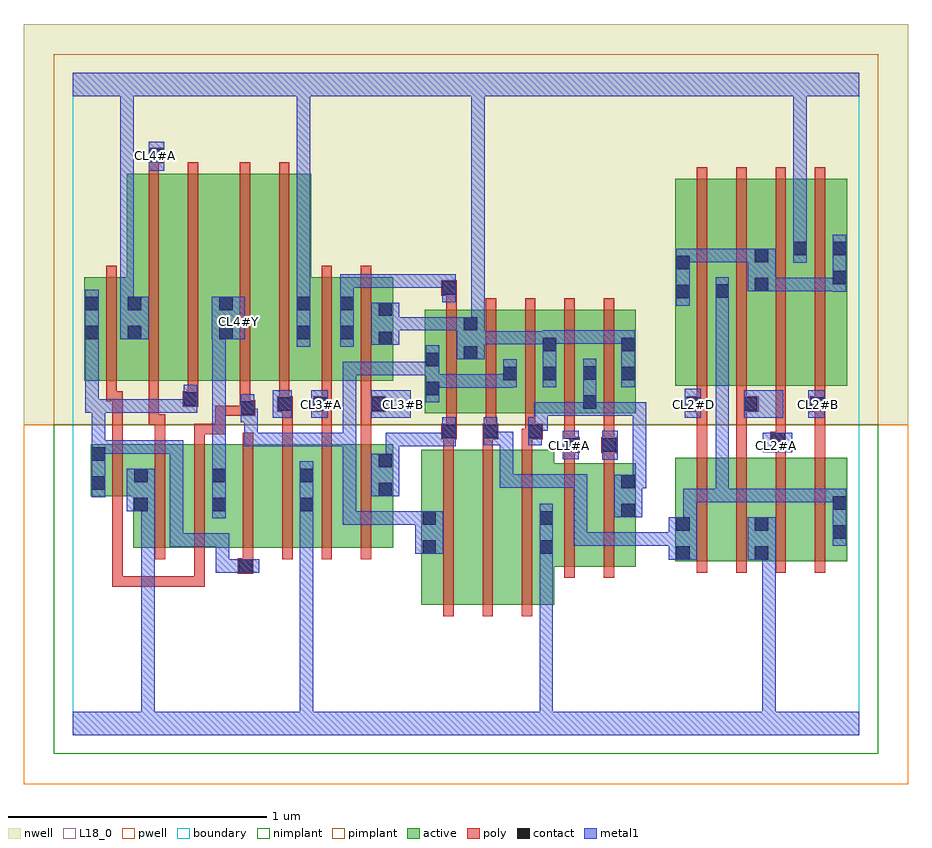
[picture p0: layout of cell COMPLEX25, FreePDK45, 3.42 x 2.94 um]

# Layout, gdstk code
import gdstk
lib = gdstk.Library(unit=1e-6, precision=1e-09)
def R(c, l, rs):  # rectangles x0, y0, x1, y1
    for r in rs: c.add(gdstk.rectangle(r[:2], r[2:], *l))
def A(c, l, x, y, w, h, nx, ny, dx, dy):  # array of equal rectangles
    R(c, l, [(x+i*dx, y+j*dy, x+i*dx+w, y+j*dy+h) for i in range(nx) for j in range(ny)])
active = (1, 0)
pwell = (2, 0)
nwell = (3, 0)
nimplant = (4, 0)
pimplant = (5, 0)
poly = (9, 0)
contact = (10, 0)
metal1 = (11, 0)
L18_0 = (18, 0)
boundary = (235, 0)

complex25 = lib.new_cell('COMPLEX25')
A(complex25, active, 1.508, 1.244, 0.06, 0.4, 3, 1, 0.152, 0)
R(complex25, active, [(1.348,0.504,1.528,1.104), (1.528,0.504,1.68,1.104), (1.68,0.504,1.86,1.104), (1.348,0.556,1.408,1.104), (1.8,0.652,1.996,1.052), (1.996,0.652,2.176,1.052), (2.328,0.672,2.508,1.072), (2.328,0.672,2.388,1.072), (2.508,0.672,2.692,1.072), (2.632,0.672,2.812,1.072), (2.812,0.672,2.992,1.072), (2.632,0.674,2.692,0.846), (1.8,0.698,1.86,0.87), (0.234,0.724,0.414,1.124), (0.234,0.724,0.294,1.034), (0.414,0.724,0.596,1.124), (0.536,0.724,0.754,1.124), (0.754,0.724,0.934,1.124), (0.874,0.724,1.058,1.124), (1.058,0.724,1.238,1.124), (0.536,0.756,0.596,1.034), (0.874,0.756,0.934,1.034), (1.178,0.756,1.238,1.124), (2.116,0.756,2.176,1.052), (2.932,0.756,2.992,1.072), (0.07,0.924,0.294,1.124), (0.07,0.944,0.13,1.124), (1.36,1.244,1.42,1.644), (1.36,1.244,1.568,1.644), (1.508,1.244,1.72,1.644), (1.66,1.244,1.872,1.644), (1.812,1.244,2.028,1.644), (1.968,1.244,2.028,1.644), (1.968,1.244,2.176,1.644), (2.116,1.244,2.176,1.644), (2.328,1.35,2.54,2.15), (2.328,1.35,2.388,2.044), (2.48,1.35,2.692,2.15), (2.632,1.35,2.84,2.15), (2.78,1.35,2.992,2.15), (2.932,1.35,2.992,2.15), (0.046,1.37,0.106,1.698), (0.046,1.37,0.27,1.77), (0.21,1.37,0.39,2.17), (0.21,1.37,0.27,1.698), (0.39,1.37,0.622,2.17), (0.562,1.37,0.742,2.17), (0.742,1.37,0.922,2.17), (0.862,1.37,1.09,1.77), (1.03,1.37,1.09,1.77), (1.03,1.37,1.238,1.77), (1.178,1.37,1.238,1.676), (0.562,1.526,0.622,2.044), (0.862,1.526,0.922,1.698), (2.48,1.686,2.54,2.044), (2.632,1.686,2.692,2.15), (2.78,1.686,2.84,2.044)])
R(complex25, pwell, [(-0.188,-0.188,3.228,1.2)])
R(complex25, nwell, [(-0.188,1.2,3.228,2.748)])
R(complex25, nimplant, [(-0.072,-0.072,3.112,1.2)])
R(complex25, pimplant, [(-0.072,1.2,3.112,2.632)])
A(complex25, poly, 1.432, 0.46, 0.04, 0.688, 3, 1, 0.152, 0)
A(complex25, poly, 2.412, 0.628, 0.04, 0.488, 4, 1, 0.152, 0)
A(complex25, poly, 0.658, 0.68, 0.04, 0.488, 4, 1, 0.152, 0)
A(complex25, poly, 1.432, 1.108, 0.04, 0.076, 3, 1, 0.152, 0)
A(complex25, poly, 0.81, 1.128, 0.04, 0.162, 3, 1, 0.152, 0)
A(complex25, poly, 1.444, 1.164, 0.04, 0.076, 3, 1, 0.152, 0)
A(complex25, poly, 1.444, 1.2, 0.04, 0.488, 5, 1, 0.152, 0)
A(complex25, poly, 2.412, 1.306, 0.04, 0.888, 4, 1, 0.152, 0)
R(complex25, poly, [(0.154,0.574,0.194,0.614), (0.154,0.574,0.194,0.614), (0.154,0.574,0.194,0.614), (0.154,0.574,0.194,0.614), (0.154,0.574,0.194,0.614), (0.154,0.574,0.194,0.614), (0.154,0.574,0.194,0.614), (0.154,0.574,0.3,0.614), (0.154,0.574,0.194,0.92), (0.26,0.574,0.3,0.614), (0.26,0.574,0.486,0.614), (0.446,0.574,0.486,0.614), (0.446,0.574,0.51,0.614), (0.47,0.574,0.51,0.614), (0.47,0.574,0.51,0.72), (1.9,0.608,1.94,1.096), (2.052,0.608,2.092,1.096), (0.638,0.624,0.698,0.684), (0.658,0.644,0.698,0.72), (0.318,0.68,0.358,1.168), (0.47,0.68,0.51,1.168), (0.154,0.88,0.194,1.168), (1.9,1.056,1.94,1.132), (2.052,1.056,2.092,1.132), (2.412,1.076,2.452,1.29), (2.564,1.076,2.604,1.29), (2.716,1.076,2.756,1.152), (2.868,1.076,2.908,1.29), (1.9,1.092,1.94,1.132), (1.9,1.092,1.94,1.132), (1.9,1.092,1.96,1.152), (2.042,1.092,2.102,1.152), (2.052,1.092,2.092,1.132), (2.052,1.092,2.092,1.132), (1.9,1.112,1.94,1.24), (2.052,1.112,2.092,1.24), (2.696,1.112,2.756,1.172), (0.154,1.128,0.194,1.33), (0.318,1.128,0.358,1.24), (0.47,1.128,0.51,1.204), (2.716,1.132,2.756,1.172), (2.716,1.132,2.756,1.172), (2.716,1.132,2.756,1.346), (1.424,1.144,1.484,1.204), (1.584,1.144,1.644,1.204), (1.736,1.144,1.788,1.184), (1.748,1.144,1.788,1.184), (1.748,1.144,1.816,1.204), (0.47,1.164,0.51,1.204), (0.47,1.164,0.592,1.204), (0.552,1.164,0.592,1.274), (1.444,1.164,1.484,1.204), (1.444,1.164,1.484,1.204), (1.596,1.164,1.636,1.204), (1.596,1.164,1.636,1.204), (0.294,1.2,0.358,1.24), (0.294,1.2,0.334,1.366), (0.318,1.2,0.358,1.24), (0.318,1.2,0.358,1.24), (0.552,1.234,0.686,1.274), (0.646,1.234,0.706,1.294), (0.79,1.25,0.85,1.31), (0.93,1.25,1.002,1.31), (1.114,1.25,1.154,1.29), (1.114,1.25,1.154,1.29), (1.114,1.25,1.21,1.31), (2.37,1.25,2.452,1.31), (2.412,1.25,2.452,1.29), (2.412,1.25,2.452,1.29), (2.564,1.25,2.604,1.29), (2.564,1.25,2.604,1.29), (2.564,1.25,2.65,1.31), (2.848,1.25,2.908,1.31), (0.646,1.254,0.686,1.294), (0.646,1.254,0.686,1.294), (0.646,1.254,0.686,1.366), (0.426,1.27,0.486,1.33), (0.798,1.27,0.838,1.31), (0.798,1.27,0.838,1.31), (0.798,1.27,0.838,1.366), (0.962,1.27,1.002,1.31), (0.962,1.27,1.002,1.31), (0.962,1.27,1.002,1.366), (1.114,1.27,1.154,1.366), (2.412,1.27,2.452,1.346), (2.564,1.27,2.604,1.346), (2.868,1.27,2.908,1.346), (2.868,1.27,2.908,1.31), (2.868,1.27,2.908,1.31), (0.13,1.29,0.17,1.366), (0.13,1.29,0.17,1.33), (0.13,1.29,0.17,1.33), (0.13,1.29,0.194,1.33), (0.446,1.29,0.486,1.366), (0.13,1.326,0.17,1.814), (0.294,1.326,0.334,2.214), (0.446,1.326,0.486,2.214), (0.646,1.326,0.686,2.214), (0.798,1.326,0.838,2.214), (0.962,1.326,1.002,1.814), (1.114,1.326,1.154,1.814), (1.444,1.648,1.484,1.738), (1.424,1.698,1.484,1.758), (0.294,2.174,0.334,2.25), (0.294,2.21,0.354,2.27)])
R(complex25, contact, [(0.642,0.628,0.694,0.68), (2.332,0.678,2.384,0.73), (2.636,0.678,2.688,0.73), (1.352,0.702,1.404,0.754), (1.804,0.702,1.856,0.754), (2.936,0.76,2.988,0.812), (2.332,0.79,2.384,0.842), (2.636,0.79,2.688,0.842), (1.352,0.814,1.404,0.866), (1.804,0.814,1.856,0.866), (2.12,0.842,2.172,0.894), (0.238,0.866,0.29,0.918), (0.54,0.866,0.592,0.918), (0.878,0.866,0.93,0.918), (2.936,0.872,2.988,0.924), (1.182,0.924,1.234,0.976), (0.074,0.948,0.126,1), (2.12,0.954,2.172,1.006), (0.238,0.978,0.29,1.03), (0.54,0.978,0.592,1.03), (0.878,0.978,0.93,1.03), (1.182,1.036,1.234,1.088), (0.074,1.06,0.126,1.112), (1.904,1.096,1.956,1.148), (2.046,1.096,2.098,1.148), (2.7,1.116,2.752,1.168), (1.428,1.148,1.48,1.2), (1.588,1.148,1.64,1.2), (1.76,1.148,1.812,1.2), (0.65,1.238,0.702,1.29), (0.794,1.254,0.846,1.306), (0.934,1.254,0.986,1.306), (1.154,1.254,1.206,1.306), (2.374,1.254,2.426,1.306), (2.594,1.254,2.646,1.306), (2.852,1.254,2.904,1.306), (1.972,1.262,2.024,1.314), (0.43,1.274,0.482,1.326), (1.364,1.314,1.416,1.366), (1.664,1.372,1.716,1.424), (1.816,1.372,1.868,1.424), (2.12,1.372,2.172,1.424), (1.972,1.374,2.024,1.426), (1.364,1.426,1.416,1.478), (1.512,1.452,1.564,1.504), (1.816,1.484,1.868,1.536), (2.12,1.484,2.172,1.536), (1.182,1.508,1.234,1.56), (0.05,1.53,0.102,1.582), (0.214,1.53,0.266,1.582), (0.566,1.53,0.618,1.582), (0.866,1.53,0.918,1.582), (1.034,1.53,1.086,1.582), (1.512,1.564,1.564,1.616), (1.182,1.62,1.234,1.672), (0.05,1.642,0.102,1.694), (0.214,1.642,0.266,1.694), (0.566,1.642,0.618,1.694), (0.866,1.642,0.918,1.694), (1.034,1.642,1.086,1.694), (2.332,1.688,2.384,1.74), (2.484,1.69,2.536,1.742), (1.428,1.702,1.48,1.754), (2.636,1.716,2.688,1.768), (2.936,1.742,2.988,1.794), (2.332,1.8,2.384,1.852), (2.636,1.828,2.688,1.88), (2.784,1.854,2.836,1.906), (2.936,1.854,2.988,1.906), (0.298,2.214,0.35,2.266)])
A(complex25, metal1, 0.074, 1.088, 0.052, 0.052, 3, 1, 0.11, 0)
R(complex25, metal1, [(0,0,3.04,0.092), (0.266,0.04,0.318,0.092), (0.266,0.04,0.318,0.092), (0.266,0.04,0.318,0.092), (0.266,0.04,0.318,0.092), (0.266,0.04,0.318,0.918), (0.878,0.04,0.93,0.092), (0.878,0.04,0.93,0.092), (0.878,0.04,0.93,0.89), (1.804,0.04,1.856,0.092), (1.804,0.04,1.856,0.092), (1.804,0.04,1.856,0.092), (1.804,0.04,1.856,0.092), (1.804,0.04,1.856,0.726), (2.664,0.04,2.716,0.092), (2.664,0.04,2.716,0.092), (2.664,0.04,2.716,0.092), (2.664,0.04,2.716,0.092), (2.664,0.04,2.716,0.092), (2.664,0.04,2.716,0.092), (2.664,0.04,2.716,0.092), (2.664,0.04,2.716,0.092), (2.664,0.04,2.716,0.092), (2.664,0.04,2.716,0.092), (2.664,0.04,2.716,0.73), (0.554,0.628,0.606,0.68), (0.554,0.628,0.666,0.68), (0.554,0.628,0.606,0.78), (0.614,0.628,0.722,0.68), (1.804,0.674,1.856,0.894), (1.804,0.674,1.856,0.726), (1.804,0.674,1.856,0.726), (1.804,0.674,1.856,0.726), (1.804,0.674,1.856,0.726), (2.304,0.678,2.412,0.842), (2.608,0.678,2.716,0.842), (2.664,0.678,2.716,0.73), (2.664,0.678,2.716,0.73), (1.324,0.702,1.432,0.866), (0.376,0.728,0.482,0.78), (0.376,0.728,0.428,0.792), (0.43,0.728,0.482,0.78), (0.43,0.728,0.606,0.78), (0.554,0.728,0.606,0.78), (1.936,0.732,1.988,0.784), (1.936,0.732,2.144,0.784), (1.936,0.732,1.988,1.008), (2.092,0.732,2.144,0.784), (2.092,0.732,2.144,0.784), (2.092,0.732,2.144,0.784), (2.092,0.732,2.356,0.784), (2.936,0.732,2.988,0.952), (0.376,0.74,0.428,0.792), (0.376,0.74,0.428,0.792), (0.376,0.74,0.428,0.792), (0.376,0.74,0.428,0.792), (0.376,0.74,0.428,1.14), (2.36,0.79,2.412,0.952), (1.044,0.814,1.096,0.866), (1.044,0.814,1.152,0.866), (1.044,0.814,1.096,1.168), (1.1,0.814,1.152,0.866), (1.1,0.814,1.206,0.866), (1.154,0.814,1.206,0.866), (1.154,0.814,1.376,0.866), (0.54,0.838,0.592,1.058), (0.878,0.838,0.93,1.058), (0.878,0.838,0.93,0.89), (0.878,0.838,0.93,0.89), (0.878,0.838,0.93,0.89), (0.878,0.838,0.93,0.89), (0.878,0.838,0.93,0.89), (0.878,0.838,0.93,0.89), (0.878,0.838,0.93,0.89), (0.878,0.838,0.93,0.89), (0.878,0.838,0.93,0.89), (0.878,0.838,0.93,0.89), (2.092,0.842,2.2,1.006), (0.21,0.866,0.318,1.03), (0.266,0.866,0.318,0.918), (0.266,0.866,0.318,0.918), (0.266,0.866,0.318,0.918), (0.266,0.866,0.318,0.918), (0.266,0.866,0.318,0.918), (0.266,0.866,0.318,0.918), (0.266,0.866,0.318,0.918), (0.266,0.866,0.318,0.918), (2.36,0.9,2.412,0.952), (2.36,0.9,2.412,0.952), (2.36,0.9,2.412,0.952), (2.36,0.9,2.536,0.952), (2.484,0.9,2.536,0.952), (2.484,0.9,2.536,0.952), (2.484,0.9,2.536,0.952), (2.484,0.9,2.536,0.952), (2.484,0.9,2.536,0.952), (2.484,0.9,2.726,0.952), (2.484,0.9,2.536,1.714), (2.674,0.9,2.726,0.952), (2.674,0.9,2.726,0.952), (2.674,0.9,2.726,0.952), (2.674,0.9,2.878,0.952), (2.826,0.9,2.988,0.952), (2.826,0.9,2.878,0.952), (2.936,0.9,2.988,0.952), (2.936,0.9,2.988,0.952), (0.074,0.92,0.126,1.14), (1.154,0.924,1.262,1.088), (2.148,0.954,2.2,1.006), (2.148,0.954,2.216,1.006), (2.164,0.954,2.216,1.006), (2.164,0.954,2.216,1.006), (2.164,0.954,2.216,1.286), (1.65,0.956,1.702,1.008), (1.65,0.956,1.836,1.008), (1.65,0.956,1.702,1.172), (1.784,0.956,1.836,1.008), (1.784,0.956,1.836,1.008), (1.784,0.956,1.836,1.008), (1.784,0.956,1.988,1.008), (1.936,0.956,1.988,1.008), (1.936,0.956,1.988,1.008), (1.936,0.956,1.988,1.008), (0.54,1.006,0.592,1.058), (0.54,1.006,0.592,1.058), (0.54,1.006,0.592,1.058), (0.54,1.006,0.592,1.058), (0.54,1.006,0.592,1.058), (0.54,1.006,0.592,1.058), (0.54,1.006,0.592,1.582), (1.21,1.036,1.262,1.088), (1.21,1.036,1.262,1.088), (1.21,1.036,1.262,1.168), (2.046,1.064,2.106,1.176), (1.894,1.066,1.956,1.176), (0.074,1.088,0.236,1.14), (0.074,1.088,0.126,1.14), (0.074,1.088,0.126,1.14), (0.074,1.088,0.126,1.14), (0.074,1.088,0.126,1.298), (0.184,1.088,0.346,1.14), (0.294,1.088,0.428,1.14), (0.376,1.088,0.428,1.14), (2.666,1.094,2.78,1.168), (0.664,1.116,0.716,1.168), (0.664,1.116,0.864,1.168), (0.664,1.116,0.716,1.262), (0.812,1.116,0.864,1.168), (0.812,1.116,0.864,1.168), (0.812,1.116,0.864,1.168), (0.812,1.116,0.986,1.168), (0.934,1.116,1.096,1.168), (0.934,1.116,0.986,1.168), (1.044,1.116,1.096,1.168), (1.044,1.116,1.096,1.444), (1.21,1.116,1.262,1.168), (1.21,1.116,1.48,1.168), (1.428,1.116,1.48,1.228), (1.588,1.12,1.64,1.228), (1.588,1.12,1.702,1.172), (1.65,1.12,1.702,1.172), (1.76,1.12,1.812,1.228), (1.76,1.176,1.836,1.228), (1.784,1.176,1.836,1.228), (1.784,1.176,1.836,1.286), (0.65,1.21,0.702,1.318), (0.65,1.21,0.716,1.262), (0.664,1.21,0.716,1.262), (0.774,1.226,0.846,1.334), (0.922,1.226,0.986,1.334), (1.154,1.226,1.306,1.334), (2.366,1.226,2.426,1.338), (2.594,1.226,2.746,1.334), (2.842,1.226,2.906,1.334), (1.784,1.234,1.946,1.286), (1.784,1.234,1.836,1.286), (1.894,1.234,1.946,1.286), (1.894,1.234,2.024,1.286), (1.972,1.234,2.024,1.454), (1.972,1.234,2.216,1.286), (2.164,1.234,2.216,1.286), (2.164,1.234,2.216,1.286), (2.164,1.234,2.216,1.286), (0.05,1.246,0.126,1.298), (0.05,1.246,0.102,1.554), (0.074,1.246,0.236,1.298), (0.184,1.246,0.346,1.298), (0.184,1.246,0.236,1.298), (0.184,1.246,0.236,1.298), (0.184,1.246,0.236,1.298), (0.294,1.246,0.346,1.298), (0.294,1.246,0.346,1.298), (0.294,1.246,0.346,1.298), (0.294,1.246,0.482,1.298), (0.43,1.246,0.482,1.354), (1.364,1.286,1.416,1.506), (1.364,1.342,1.436,1.394), (1.384,1.342,1.436,1.394), (1.384,1.342,1.57,1.394), (1.518,1.342,1.57,1.394), (1.518,1.342,1.702,1.394), (1.65,1.342,1.702,1.396), (1.65,1.344,1.716,1.396), (1.664,1.344,1.716,1.452), (1.816,1.344,1.868,1.564), (2.12,1.344,2.172,1.564), (1.044,1.392,1.096,1.444), (1.044,1.392,1.096,1.444), (1.044,1.392,1.096,1.444), (1.044,1.392,1.096,1.444), (1.044,1.392,1.096,1.444), (1.044,1.392,1.096,1.444), (1.044,1.392,1.096,1.444), (1.044,1.392,1.326,1.444), (1.274,1.392,1.326,1.444), (1.274,1.392,1.416,1.444), (1.484,1.452,1.592,1.616), (0.05,1.502,0.102,1.722), (0.866,1.502,0.918,1.722), (1.034,1.502,1.086,1.722), (1.154,1.508,1.262,1.672), (1.54,1.51,1.592,1.562), (1.54,1.51,1.592,1.562), (1.54,1.51,1.726,1.562), (1.674,1.51,1.836,1.562), (1.674,1.51,1.726,1.562), (1.784,1.51,1.836,1.562), (1.784,1.51,1.868,1.562), (1.816,1.512,1.946,1.564), (1.894,1.512,1.946,1.564), (1.894,1.512,2.034,1.564), (1.982,1.512,2.034,1.564), (1.982,1.512,2.098,1.564), (2.046,1.512,2.098,1.564), (2.046,1.512,2.172,1.564), (0.184,1.53,0.294,1.694), (0.538,1.53,0.666,1.694), (0.54,1.53,0.592,1.582), (0.54,1.53,0.592,1.582), (1.21,1.564,1.262,1.616), (1.21,1.564,1.262,1.616), (1.21,1.564,1.482,1.616), (1.43,1.564,1.482,1.616), (1.43,1.564,1.536,1.616), (1.54,1.564,1.592,2.038), (0.184,1.642,0.236,1.694), (0.184,1.642,0.236,1.694), (0.184,1.642,0.236,1.694), (0.184,1.642,0.236,1.694), (0.184,1.642,0.236,1.694), (0.184,1.642,0.236,1.694), (0.184,1.642,0.236,1.694), (0.184,1.642,0.236,1.694), (0.184,1.642,0.236,2.52), (2.332,1.66,2.384,1.88), (2.484,1.662,2.536,1.714), (2.484,1.662,2.536,1.714), (2.484,1.662,2.536,1.77), (0.866,1.67,0.918,1.722), (0.866,1.67,0.918,1.722), (0.866,1.67,0.918,1.722), (0.866,1.67,0.918,1.722), (0.866,1.67,0.918,2.52), (1.034,1.67,1.086,1.782), (1.428,1.674,1.48,1.782), (2.936,1.714,2.988,1.934), (2.608,1.716,2.716,1.88), (2.664,1.716,2.716,1.768), (2.664,1.716,2.716,1.768), (2.664,1.716,2.878,1.768), (2.826,1.716,2.988,1.768), (2.826,1.716,2.878,1.768), (2.826,1.716,2.878,1.768), (2.826,1.716,2.878,1.768), (1.034,1.73,1.086,1.782), (1.034,1.73,1.152,1.782), (1.1,1.73,1.262,1.782), (1.1,1.73,1.152,1.782), (1.21,1.73,1.262,1.782), (1.21,1.73,1.262,1.782), (1.21,1.73,1.262,1.782), (1.21,1.73,1.48,1.782), (2.784,1.826,2.836,1.934), (2.332,1.828,2.384,1.88), (2.332,1.828,2.384,1.88), (2.332,1.828,2.55,1.88), (2.498,1.828,2.66,1.88), (2.498,1.828,2.55,1.88), (2.498,1.828,2.55,1.88), (2.498,1.828,2.55,1.88), (2.784,1.882,2.836,1.934), (2.784,1.882,2.836,1.934), (2.784,1.882,2.836,1.934), (2.784,1.882,2.836,1.934), (2.784,1.882,2.836,1.934), (2.784,1.882,2.836,1.934), (2.784,1.882,2.836,2.52), (1.54,1.986,1.592,2.038), (1.54,1.986,1.592,2.038), (1.54,1.986,1.592,2.038), (1.54,1.986,1.592,2.038), (1.54,1.986,1.592,2.038), (1.54,1.986,1.592,2.038), (1.54,1.986,1.592,2.038), (1.54,1.986,1.592,2.038), (1.54,1.986,1.592,2.038), (1.54,1.986,1.592,2.038), (1.54,1.986,1.592,2.038), (1.54,1.986,1.592,2.038), (1.54,1.986,1.592,2.038), (1.54,1.986,1.592,2.038), (1.54,1.986,1.592,2.038), (1.54,1.986,1.592,2.52), (0.294,2.182,0.354,2.294), (0,2.468,3.04,2.56), (0.866,2.468,0.918,2.52), (0.866,2.468,0.918,2.52), (0.866,2.468,0.918,2.52), (0.866,2.468,0.918,2.52), (2.784,2.468,2.836,2.52), (2.784,2.468,2.836,2.52)])
R(complex25, L18_0, [(0,0,3.04,0.092), (0.266,0.04,0.318,0.092), (0.266,0.04,0.318,0.092), (0.266,0.04,0.318,0.092), (0.266,0.04,0.318,0.092), (0.266,0.04,0.318,0.918), (0.878,0.04,0.93,0.092), (0.878,0.04,0.93,0.092), (0.878,0.04,0.93,0.89), (1.804,0.04,1.856,0.092), (1.804,0.04,1.856,0.092), (1.804,0.04,1.856,0.092), (1.804,0.04,1.856,0.092), (1.804,0.04,1.856,0.726), (2.664,0.04,2.716,0.092), (2.664,0.04,2.716,0.092), (2.664,0.04,2.716,0.092), (2.664,0.04,2.716,0.092), (2.664,0.04,2.716,0.092), (2.664,0.04,2.716,0.092), (2.664,0.04,2.716,0.092), (2.664,0.04,2.716,0.092), (2.664,0.04,2.716,0.092), (2.664,0.04,2.716,0.092), (2.664,0.04,2.716,0.73), (1.804,0.674,1.856,0.726), (1.804,0.674,1.856,0.726), (1.804,0.674,1.856,0.726), (1.804,0.674,1.856,0.726), (1.804,0.674,1.856,0.894), (2.608,0.678,2.716,0.842), (2.664,0.678,2.716,0.73), (2.664,0.678,2.716,0.73), (0.54,0.838,0.592,1.058), (0.878,0.838,0.93,0.89), (0.878,0.838,0.93,0.89), (0.878,0.838,0.93,0.89), (0.878,0.838,0.93,0.89), (0.878,0.838,0.93,0.89), (0.878,0.838,0.93,0.89), (0.878,0.838,0.93,0.89), (0.878,0.838,0.93,0.89), (0.878,0.838,0.93,0.89), (0.878,0.838,0.93,0.89), (0.878,0.838,0.93,1.058), (0.21,0.866,0.318,1.03), (0.266,0.866,0.318,0.918), (0.266,0.866,0.318,0.918), (0.266,0.866,0.318,0.918), (0.266,0.866,0.318,0.918), (0.266,0.866,0.318,0.918), (0.266,0.866,0.318,0.918), (0.266,0.866,0.318,0.918), (0.266,0.866,0.318,0.918), (0.54,1.006,0.592,1.058), (0.54,1.006,0.592,1.058), (0.54,1.006,0.592,1.058), (0.54,1.006,0.592,1.058), (0.54,1.006,0.592,1.058), (0.54,1.006,0.592,1.058), (0.54,1.006,0.592,1.582), (2.046,1.064,2.106,1.176), (1.894,1.066,1.956,1.176), (1.894,1.094,1.946,1.146), (2.054,1.094,2.106,1.146), (2.666,1.094,2.78,1.168), (2.694,1.094,2.746,1.146), (0.774,1.226,0.846,1.334), (0.922,1.226,0.986,1.334), (1.154,1.226,1.306,1.334), (2.366,1.226,2.426,1.338), (2.594,1.226,2.746,1.334), (2.842,1.226,2.906,1.334), (0.774,1.254,0.826,1.306), (0.934,1.254,0.986,1.306), (1.254,1.254,1.306,1.306), (2.374,1.254,2.426,1.306), (2.694,1.254,2.746,1.306), (2.854,1.254,2.906,1.306), (1.816,1.344,1.868,1.564), (2.12,1.344,2.172,1.564), (1.484,1.452,1.592,1.616), (0.866,1.502,0.918,1.722), (1.154,1.508,1.262,1.672), (1.54,1.51,1.592,1.562), (1.54,1.51,1.592,1.562), (1.54,1.51,1.726,1.562), (1.674,1.51,1.726,1.562), (1.674,1.51,1.836,1.562), (1.784,1.51,1.836,1.562), (1.784,1.51,1.868,1.562), (1.816,1.512,1.946,1.564), (1.894,1.512,1.946,1.564), (1.894,1.512,2.034,1.564), (1.982,1.512,2.034,1.564), (1.982,1.512,2.098,1.564), (2.046,1.512,2.098,1.564), (2.046,1.512,2.172,1.564), (0.184,1.53,0.294,1.694), (0.538,1.53,0.666,1.694), (0.54,1.53,0.592,1.582), (0.54,1.53,0.592,1.582), (1.21,1.564,1.262,1.616), (1.21,1.564,1.262,1.616), (1.21,1.564,1.482,1.616), (1.43,1.564,1.482,1.616), (1.43,1.564,1.536,1.616), (1.54,1.564,1.592,2.038), (0.614,1.574,0.666,1.626), (0.184,1.642,0.236,1.694), (0.184,1.642,0.236,1.694), (0.184,1.642,0.236,1.694), (0.184,1.642,0.236,1.694), (0.184,1.642,0.236,1.694), (0.184,1.642,0.236,1.694), (0.184,1.642,0.236,1.694), (0.184,1.642,0.236,1.694), (0.184,1.642,0.236,2.52), (0.866,1.67,0.918,1.722), (0.866,1.67,0.918,1.722), (0.866,1.67,0.918,1.722), (0.866,1.67,0.918,1.722), (0.866,1.67,0.918,2.52), (2.784,1.826,2.836,1.934), (2.784,1.882,2.836,1.934), (2.784,1.882,2.836,1.934), (2.784,1.882,2.836,1.934), (2.784,1.882,2.836,1.934), (2.784,1.882,2.836,1.934), (2.784,1.882,2.836,1.934), (2.784,1.882,2.836,2.52), (1.54,1.986,1.592,2.038), (1.54,1.986,1.592,2.038), (1.54,1.986,1.592,2.038), (1.54,1.986,1.592,2.038), (1.54,1.986,1.592,2.038), (1.54,1.986,1.592,2.038), (1.54,1.986,1.592,2.038), (1.54,1.986,1.592,2.038), (1.54,1.986,1.592,2.038), (1.54,1.986,1.592,2.038), (1.54,1.986,1.592,2.038), (1.54,1.986,1.592,2.038), (1.54,1.986,1.592,2.038), (1.54,1.986,1.592,2.038), (1.54,1.986,1.592,2.038), (1.54,1.986,1.592,2.52), (0.294,2.182,0.354,2.294), (0.294,2.214,0.346,2.266), (0,2.468,3.04,2.56), (0.866,2.468,0.918,2.52), (0.866,2.468,0.918,2.52), (0.866,2.468,0.918,2.52), (0.866,2.468,0.918,2.52), (2.784,2.468,2.836,2.52), (2.784,2.468,2.836,2.52)])
R(complex25, boundary, [(0,0,3.04,2.56)])
complex25.add(gdstk.Label('CL1#A', (1.92,1.12), layer=11, texttype=0))
complex25.add(gdstk.Label('CL1#B', (2.08,1.12), layer=11, texttype=0))
complex25.add(gdstk.Label('CL2#A', (2.72,1.12), layer=11, texttype=0))
complex25.add(gdstk.Label('CL2#B', (2.88,1.28), layer=11, texttype=0))
complex25.add(gdstk.Label('CL2#C', (2.72,1.28), layer=11, texttype=0))
complex25.add(gdstk.Label('CL2#D', (2.4,1.28), layer=11, texttype=0))
complex25.add(gdstk.Label('CL3#A', (0.96,1.28), layer=11, texttype=0))
complex25.add(gdstk.Label('CL3#B', (1.28,1.28), layer=11, texttype=0))
complex25.add(gdstk.Label('CL4#A', (0.32,2.24), layer=11, texttype=0))
complex25.add(gdstk.Label('CL4#B', (0.8,1.28), layer=11, texttype=0))
complex25.add(gdstk.Label('CL4#Y', (0.64,1.6), layer=11, texttype=0))

lib.write_gds('COMPLEX25.gds')
